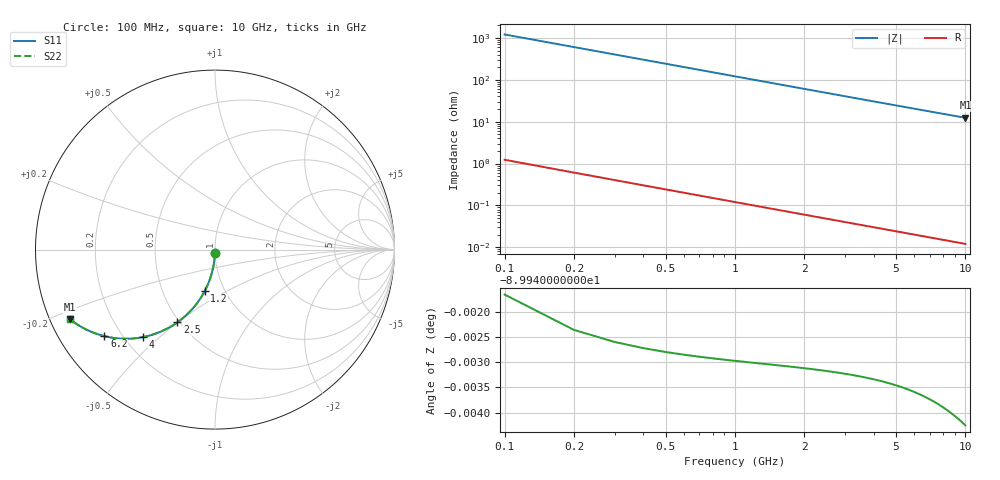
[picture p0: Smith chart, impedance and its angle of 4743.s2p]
# Hz S RI R 50.00
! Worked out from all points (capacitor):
!   100 points, 100 MHz to 10 GHz, reference 50 ohm
!   read as one part in shunt: C = 1.31 pF near 100 MHz
!   lowest |Z| = 12.4 ohm at 10 GHz (marker M1)
!   S11 on the Smith chart (normalised r, x): 100 MHz: 1.00, -0.04; 1.2 GHz: 0.80, -0.40; 2.5 GHz: 0.49, -0.50; 4 GHz: 0.27, -0.44; 6.2 GHz: 0.14, -0.34; 10 GHz: 0.06, -0.23
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1e8  -0.000437 -0.0206  0.9995 -0.0207  0.9995 -0.0207  -0.000437 -0.0206
2e8  -0.00173 -0.0411  0.9982 -0.0413  0.9982 -0.0413  -0.00173 -0.0411
3e8  -0.00387 -0.0615  0.9961 -0.0618  0.9961 -0.0618  -0.00387 -0.0615
4e8  -0.00684 -0.0818  0.9931 -0.0822  0.9931 -0.0822  -0.00684 -0.0818
5e8  -0.0106 -0.1018  0.9894 -0.1024  0.9894 -0.1024  -0.0106 -0.1018
6e8  -0.0152 -0.1216  0.9848 -0.1222  0.9848 -0.1222  -0.0152 -0.1216
7e8  -0.0206 -0.1411  0.9794 -0.1418  0.9794 -0.1418  -0.0206 -0.1411
9e8  -0.0335 -0.1789  0.9665 -0.1799  0.9665 -0.1799  -0.0335 -0.1789
1.2e9  -0.0579 -0.2324  0.9421 -0.2337  0.9421 -0.2337  -0.0579 -0.2324
1.5e9  -0.0874 -0.2812  0.9125 -0.2828  0.9125 -0.2828  -0.0874 -0.2812
1.8e9  -0.1211 -0.3247  0.8789 -0.3267  0.8789 -0.3267  -0.1211 -0.3247
2.1e9  -0.1577 -0.3628  0.8423 -0.3651  0.8423 -0.3651  -0.1577 -0.3628
2.5e9  -0.2093 -0.405  0.7906 -0.4077  0.7906 -0.4077  -0.2093 -0.405
2.9e9  -0.2623 -0.4378  0.7376 -0.441  0.7376 -0.441  -0.2623 -0.4378
3.4e9  -0.3278 -0.467  0.6721 -0.4708  0.6721 -0.4708  -0.3278 -0.467
4e9  -0.4024 -0.4876  0.5975 -0.4921  0.5975 -0.4921  -0.4024 -0.4876
5.1e9  -0.5217 -0.4961  0.4783 -0.5019  0.4783 -0.5019  -0.5217 -0.4961
6.2e9  -0.6164 -0.4822  0.3836 -0.4893  0.3836 -0.4893  -0.6164 -0.4822
6.7e9  -0.6521 -0.472  0.3479 -0.4796  0.3479 -0.4796  -0.6521 -0.472
7.5e9  -0.701 -0.453  0.299 -0.4616  0.299 -0.4616  -0.701 -0.453
8.4e9  -0.7459 -0.43  0.254 -0.4397  0.254 -0.4397  -0.7459 -0.43
1e10  -0.8059 -0.3891  0.194 -0.4007  0.194 -0.4007  -0.8059 -0.3891
